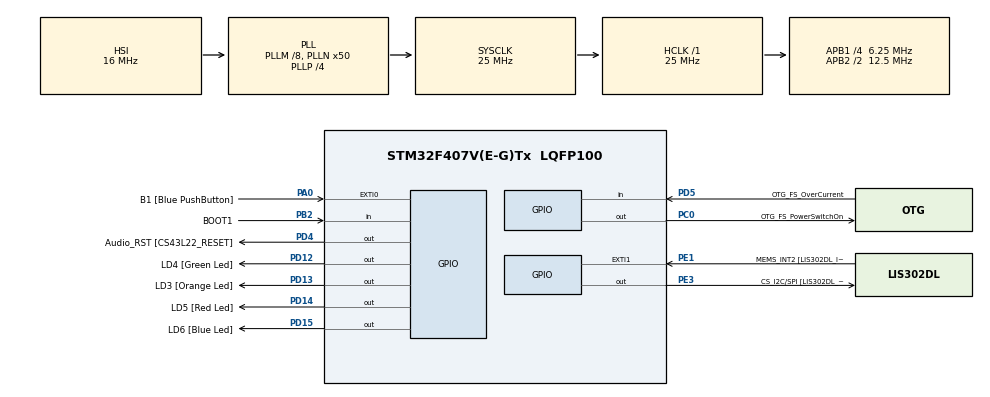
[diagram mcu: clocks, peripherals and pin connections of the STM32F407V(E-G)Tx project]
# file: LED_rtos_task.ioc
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Mcu.Family=STM32F4
Mcu.Name=STM32F407V(E-G)Tx
Mcu.Package=LQFP100
NVIC.PriorityGroup=NVIC_PRIORITYGROUP_4
NVIC.TIM6_DAC_IRQn=true\:0\:0\:false\:false\:true\:false\:true\:true
NVIC.TimeBase=TIM6_DAC_IRQn
NVIC.TimeBaseIP=TIM6
PA0-WKUP.GPIO_Label=B1 [Blue PushButton]
PA0-WKUP.Signal=GPXTI0
PA10.GPIO_Label=OTG_FS_ID
PA10.GPIO_Mode=GPIO_MODE_AF_PP
PA10.GPIO_PuPd=GPIO_NOPULL
PA10.GPIO_Speed=GPIO_SPEED_FREQ_LOW
PA10.Signal=USB_OTG_FS_ID
PA11.GPIO_Label=OTG_FS_DM
PA11.GPIO_Mode=GPIO_MODE_AF_PP
PA11.GPIO_PuPd=GPIO_NOPULL
PA11.GPIO_Speed=GPIO_SPEED_FREQ_LOW
PA11.Signal=USB_OTG_FS_DM
PA12.GPIO_Label=OTG_FS_DP
PA12.GPIO_Mode=GPIO_MODE_AF_PP
PA12.GPIO_PuPd=GPIO_NOPULL
PA12.GPIO_Speed=GPIO_SPEED_FREQ_LOW
PA12.Signal=USB_OTG_FS_DP
PA13.GPIO_Label=SWDIO
PA13.Signal=SYS_JTMS-SWDIO
PA14.GPIO_Label=SWCLK
PA14.Signal=SYS_JTCK-SWCLK
PA4.GPIO_Label=I2S3_WS [CS43L22_LRCK]
PA4.GPIO_Mode=GPIO_MODE_AF_PP
PA4.GPIO_PuPd=GPIO_NOPULL
PA4.GPIO_Speed=GPIO_SPEED_FREQ_LOW
PA4.Signal=I2S3_WS
PA5.GPIO_Label=SPI1_SCK [LIS302DL_SCL/SPC]
PA5.GPIO_Mode=GPIO_MODE_AF_PP
PA5.GPIO_PuPd=GPIO_NOPULL
PA5.GPIO_Speed=GPIO_SPEED_FREQ_LOW
PA5.Signal=SPI1_SCK
PA6.GPIO_Label=SPI1_MISO [LIS302DL_SDO]
PA6.GPIO_Mode=GPIO_MODE_AF_PP
PA6.GPIO_PuPd=GPIO_NOPULL
PA6.GPIO_Speed=GPIO_SPEED_FREQ_LOW
PA6.Signal=SPI1_MISO
PA7.GPIO_Label=SPI1_MOSI [LIS302DL_SDA/SDI/SDO]
PA7.GPIO_Mode=GPIO_MODE_AF_PP
PA7.GPIO_PuPd=GPIO_NOPULL
PA7.GPIO_Speed=GPIO_SPEED_FREQ_LOW
PA7.Signal=SPI1_MOSI
PA9.GPIO_Label=VBUS_FS
PA9.GPIO_Mode=GPIO_MODE_INPUT
PA9.GPIO_PuPd=GPIO_NOPULL
PA9.Signal=USB_OTG_FS_VBUS
PB10.GPIO_Label=CLK_IN [MP45DT02_CLK]
PB10.GPIO_Mode=GPIO_MODE_AF_PP
PB10.GPIO_PuPd=GPIO_NOPULL
PB10.GPIO_Speed=GPIO_SPEED_FREQ_LOW
PB10.Signal=I2S2_CK
PB2.GPIO_Label=BOOT1
PB2.GPIO_Mode=GPIO_MODE_INPUT
PB2.GPIO_PuPd=GPIO_NOPULL
PB2.Signal=GPIO_Input
PB3.GPIO_Label=SWO
PB3.Signal=SYS_JTDO-SWO
PB6.GPIO_Label=Audio_SCL [CS43L22_SCL]
PB6.GPIO_Mode=GPIO_MODE_AF_OD
PB6.GPIO_PuPd=GPIO_NOPULL
PB6.GPIO_Speed=GPIO_SPEED_FREQ_LOW
PB6.Signal=I2C1_SCL
PB9.GPIO_Label=Audio_SDA [CS43L22_SDA]
PB9.GPIO_Mode=GPIO_MODE_AF_OD
PB9.GPIO_PuPd=GPIO_NOPULL
PB9.GPIO_Speed=GPIO_SPEED_FREQ_LOW
PB9.Signal=I2C1_SDA
PC0.GPIO_Label=OTG_FS_PowerSwitchOn
PC0.GPIO_PuPd=GPIO_NOPULL
PC0.GPIO_Speed=GPIO_SPEED_FREQ_LOW
PC0.PinState=GPIO_PIN_SET
PC0.Signal=GPIO_Output
PC10.GPIO_Label=I2S3_SCK [CS43L22_SCLK]
PC10.GPIO_Mode=GPIO_MODE_AF_PP
PC10.GPIO_PuPd=GPIO_NOPULL
PC10.GPIO_Speed=GPIO_SPEED_FREQ_LOW
PC10.Signal=I2S3_CK
PC12.GPIO_Label=I2S3_SD [CS43L22_SDIN]
PC12.GPIO_Mode=GPIO_MODE_AF_PP
PC12.GPIO_PuPd=GPIO_NOPULL
PC12.GPIO_Speed=GPIO_SPEED_FREQ_LOW
PC12.Signal=I2S3_SD
PC14-OSC32_IN.GPIO_Label=PC14-OSC32_IN
PC14-OSC32_IN.Signal=RCC_OSC32_IN
PC15-OSC32_OUT.GPIO_Label=PC15-OSC32_OUT
PC15-OSC32_OUT.Signal=RCC_OSC32_OUT
PC3.GPIO_Label=PDM_OUT [MP45DT02_DOUT]
PC3.GPIO_Mode=GPIO_MODE_AF_PP
PC3.GPIO_PuPd=GPIO_NOPULL
PC3.GPIO_Speed=GPIO_SPEED_FREQ_LOW
PC3.Signal=I2S2_SD
PC7.GPIO_Label=I2S3_MCK [CS43L22_MCLK]
PC7.GPIO_Mode=GPIO_MODE_AF_PP
PC7.GPIO_PuPd=GPIO_NOPULL
PC7.GPIO_Speed=GPIO_SPEED_FREQ_LOW
PC7.Signal=I2S3_MCK
PD12.GPIO_Label=LD4 [Green Led]
PD12.GPIO_PuPd=GPIO_NOPULL
PD12.GPIO_Speed=GPIO_SPEED_FREQ_LOW
PD12.Signal=GPIO_Output
PD13.GPIO_Label=LD3 [Orange Led]
PD13.GPIO_PuPd=GPIO_NOPULL
PD13.GPIO_Speed=GPIO_SPEED_FREQ_LOW
PD13.Signal=GPIO_Output
PD14.GPIO_Label=LD5 [Red Led]
PD14.GPIO_PuPd=GPIO_NOPULL
PD14.GPIO_Speed=GPIO_SPEED_FREQ_LOW
PD14.Signal=GPIO_Output
PD15.GPIO_Label=LD6 [Blue Led]
PD15.GPIO_PuPd=GPIO_NOPULL
PD15.GPIO_Speed=GPIO_SPEED_FREQ_LOW
PD15.Signal=GPIO_Output
PD4.GPIO_Label=Audio_RST [CS43L22_RESET]
PD4.GPIO_PuPd=GPIO_NOPULL
PD4.GPIO_Speed=GPIO_SPEED_FREQ_LOW
PD4.Signal=GPIO_Output
PD5.GPIO_Label=OTG_FS_OverCurrent
PD5.GPIO_Mode=GPIO_MODE_INPUT
PD5.GPIO_PuPd=GPIO_NOPULL
PD5.Signal=GPIO_Input
PE1.GPIO_Label=MEMS_INT2 [LIS302DL_INT2]
PE1.GPIO_ModeDefaultEXTI=GPIO_MODE_EVT_RISING
PE1.GPIO_PuPd=GPIO_NOPULL
PE1.Signal=GPXTI1
PE3.GPIO_Label=CS_I2C/SPI [LIS302DL_CS_I2C/SPI]
PE3.GPIO_PuPd=GPIO_NOPULL
PE3.GPIO_Speed=GPIO_SPEED_FREQ_LOW
PE3.Signal=GPIO_Output
PH0-OSC_IN.GPIO_Label=PH0-OSC_IN
PH0-OSC_IN.Signal=RCC_OSC_IN
PH1-OSC_OUT.GPIO_Label=PH1-OSC_OUT
PH1-OSC_OUT.Signal=RCC_OSC_OUT
ProjectManager.HeapSize=0x200
ProjectManager.StackSize=0x400
ProjectManager.TargetToolchain=STM32CubeIDE
RCC.48MHZClocksFreq_Value=14285714.285714285
RCC.AHBFreq_Value=25000000
RCC.APB1CLKDivider=RCC_HCLK_DIV4
RCC.APB1Freq_Value=6250000
RCC.APB1TimFreq_Value=12500000
RCC.APB2CLKDivider=RCC_HCLK_DIV2
RCC.APB2Freq_Value=12500000
RCC.APB2TimFreq_Value=25000000
RCC.CortexFreq_Value=25000000
RCC.HCLKFreq_Value=25000000
RCC.HSE_VALUE=8000000
RCC.HSI_VALUE=16000000
RCC.LSE_VALUE=32768
RCC.PLLM=8
RCC.PLLN=50
RCC.PLLP=RCC_PLLP_DIV4
RCC.PLLQ=7
RCC.SYSCLKFreq_VALUE=25000000
RCC.SYSCLKSource=RCC_SYSCLKSOURCE_PLLCLK
RCC.VCOOutputFreq_Value=100000000
VP_SYS_VS_tim6.Mode=TIM6
board=STM32F407G-DISC1

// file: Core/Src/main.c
/* USER CODE BEGIN Header */
/**
  ******************************************************************************
  * @file           : main.c
  * @brief          : Main program body
  ******************************************************************************
  * @attention
  *
  * Copyright (c) 2026 STMicroelectronics.
  * All rights reserved.
  *
  * This software is licensed under terms that can be found in the LICENSE file
  * in the root directory of this software component.
  * If no LICENSE file comes with this software, it is provided AS-IS.
  *
  ******************************************************************************
  */
/* USER CODE END Header */
#include "main.h"

/* USER CODE BEGIN Includes */
#include "stdio.h"
#include "FreeRTOS.h"
#include "task.h"
/* USER CODE END Includes */

void SystemClock_Config(void);
static void MX_GPIO_Init(void);
/* USER CODE BEGIN PFP */
static void greenLed_handler(void* parameters);
static void redLed_handler(void* parameters);
static void orangeLed_handler(void* parameters);
/* USER CODE END PFP */

int main(void)
{

  /* USER CODE BEGIN 1 */
	TaskHandle_t greenLedtask, redLedtask, orangeLedtask;
	BaseType_t status;
  /* USER CODE END 1 */

  /* MCU Configuration--------------------------------------------------------*/

  /* Reset of all peripherals, Initializes the Flash interface and the Systick. */
  HAL_Init();

  /* Configure the system clock */
  SystemClock_Config();

  /* Initialize all configured peripherals */
  MX_GPIO_Init();
  /* USER CODE BEGIN 2 */
  status = xTaskCreate(greenLed_handler, "Green_led_Task", 200, NULL, 2, &greenLedtask);
  configASSERT(status == pdPASS );

  status = xTaskCreate(redLed_handler, "Red_led_Task", 200, NULL, 2, &redLedtask);
  configASSERT(status == pdPASS );

  status = xTaskCreate(orangeLed_handler, "Orange_led_Task", 200, NULL, 2, &orangeLedtask);
  configASSERT(status == pdPASS );

  vTaskStartScheduler();
  /* USER CODE END 2 */

  /* Infinite loop */
  while (1)
  {

  }
}

void SystemClock_Config(void)
{
  RCC_OscInitTypeDef RCC_OscInitStruct = {0};
  RCC_ClkInitTypeDef RCC_ClkInitStruct = {0};

  /** Configure the main internal regulator output voltage
  */
  __HAL_RCC_PWR_CLK_ENABLE();
  __HAL_PWR_VOLTAGESCALING_CONFIG(PWR_REGULATOR_VOLTAGE_SCALE1);

  /** Initializes the RCC Oscillators according to the specified parameters
  * in the RCC_OscInitTypeDef structure.
  */
  RCC_OscInitStruct.OscillatorType = RCC_OSCILLATORTYPE_HSI;
  RCC_OscInitStruct.HSIState = RCC_HSI_ON;
  RCC_OscInitStruct.HSICalibrationValue = RCC_HSICALIBRATION_DEFAULT;
  RCC_OscInitStruct.PLL.PLLState = RCC_PLL_ON;
  RCC_OscInitStruct.PLL.PLLSource = RCC_PLLSOURCE_HSI;
  RCC_OscInitStruct.PLL.PLLM = 8;
  RCC_OscInitStruct.PLL.PLLN = 50;
  RCC_OscInitStruct.PLL.PLLP = RCC_PLLP_DIV4;
  RCC_OscInitStruct.PLL.PLLQ = 7;
  if (HAL_RCC_OscConfig(&RCC_OscInitStruct) != HAL_OK)
  {
    Error_Handler();
  }

  /** Initializes the CPU, AHB and APB buses clocks
  */
  RCC_ClkInitStruct.ClockType = RCC_CLOCKTYPE_HCLK|RCC_CLOCKTYPE_SYSCLK
                              |RCC_CLOCKTYPE_PCLK1|RCC_CLOCKTYPE_PCLK2;
  RCC_ClkInitStruct.SYSCLKSource = RCC_SYSCLKSOURCE_PLLCLK;
  RCC_ClkInitStruct.AHBCLKDivider = RCC_SYSCLK_DIV1;
  RCC_ClkInitStruct.APB1CLKDivider = RCC_HCLK_DIV4;
  RCC_ClkInitStruct.APB2CLKDivider = RCC_HCLK_DIV2;

  if (HAL_RCC_ClockConfig(&RCC_ClkInitStruct, FLASH_LATENCY_0) != HAL_OK)
  {
    Error_Handler();
  }
}

static void MX_GPIO_Init(void)
{
  GPIO_InitTypeDef GPIO_InitStruct = {0};

  /* GPIO Ports Clock Enable */
  __HAL_RCC_GPIOE_CLK_ENABLE();
  __HAL_RCC_GPIOC_CLK_ENABLE();
  __HAL_RCC_GPIOH_CLK_ENABLE();
  __HAL_RCC_GPIOA_CLK_ENABLE();
  __HAL_RCC_GPIOB_CLK_ENABLE();
  __HAL_RCC_GPIOD_CLK_ENABLE();

  /*Configure GPIO pin Output Level */
  HAL_GPIO_WritePin(CS_I2C_SPI_GPIO_Port, CS_I2C_SPI_Pin, GPIO_PIN_RESET);

  /*Configure GPIO pin Output Level */
  HAL_GPIO_WritePin(OTG_FS_PowerSwitchOn_GPIO_Port, OTG_FS_PowerSwitchOn_Pin, GPIO_PIN_SET);

  /*Configure GPIO pin Output Level */
  HAL_GPIO_WritePin(GPIOD, LD4_Pin|LD3_Pin|LD5_Pin|LD6_Pin
                          |Audio_RST_Pin, GPIO_PIN_RESET);

  /*Configure GPIO pin : CS_I2C_SPI_Pin */
  GPIO_InitStruct.Pin = CS_I2C_SPI_Pin;
  GPIO_InitStruct.Mode = GPIO_MODE_OUTPUT_PP;
  GPIO_InitStruct.Pull = GPIO_NOPULL;
  GPIO_InitStruct.Speed = GPIO_SPEED_FREQ_LOW;
  HAL_GPIO_Init(CS_I2C_SPI_GPIO_Port, &GPIO_InitStruct);

  /*Configure GPIO pin : OTG_FS_PowerSwitchOn_Pin */
  GPIO_InitStruct.Pin = OTG_FS_PowerSwitchOn_Pin;
  GPIO_InitStruct.Mode = GPIO_MODE_OUTPUT_PP;
  GPIO_InitStruct.Pull = GPIO_NOPULL;
  GPIO_InitStruct.Speed = GPIO_SPEED_FREQ_LOW;
  HAL_GPIO_Init(OTG_FS_PowerSwitchOn_GPIO_Port, &GPIO_InitStruct);

  /*Configure GPIO pin : PDM_OUT_Pin */
  GPIO_InitStruct.Pin = PDM_OUT_Pin;
  GPIO_InitStruct.Mode = GPIO_MODE_AF_PP;
  GPIO_InitStruct.Pull = GPIO_NOPULL;
  GPIO_InitStruct.Speed = GPIO_SPEED_FREQ_LOW;
  GPIO_InitStruct.Alternate = GPIO_AF5_SPI2;
  HAL_GPIO_Init(PDM_OUT_GPIO_Port, &GPIO_InitStruct);

  /*Configure GPIO pin : B1_Pin */
  GPIO_InitStruct.Pin = B1_Pin;
  GPIO_InitStruct.Mode = GPIO_MODE_IT_RISING;
  GPIO_InitStruct.Pull = GPIO_NOPULL;
  HAL_GPIO_Init(B1_GPIO_Port, &GPIO_InitStruct);

  /*Configure GPIO pin : I2S3_WS_Pin */
  GPIO_InitStruct.Pin = I2S3_WS_Pin;
  GPIO_InitStruct.Mode = GPIO_MODE_AF_PP;
  GPIO_InitStruct.Pull = GPIO_NOPULL;
  GPIO_InitStruct.Speed = GPIO_SPEED_FREQ_LOW;
  GPIO_InitStruct.Alternate = GPIO_AF6_SPI3;
  HAL_GPIO_Init(I2S3_WS_GPIO_Port, &GPIO_InitStruct);

  /*Configure GPIO pins : SPI1_SCK_Pin SPI1_MISO_Pin SPI1_MOSI_Pin */
  GPIO_InitStruct.Pin = SPI1_SCK_Pin|SPI1_MISO_Pin|SPI1_MOSI_Pin;
  GPIO_InitStruct.Mode = GPIO_MODE_AF_PP;
  GPIO_InitStruct.Pull = GPIO_NOPULL;
  GPIO_InitStruct.Speed = GPIO_SPEED_FREQ_LOW;
  GPIO_InitStruct.Alternate = GPIO_AF5_SPI1;
  HAL_GPIO_Init(GPIOA, &GPIO_InitStruct);

  /*Configure GPIO pin : BOOT1_Pin */
  GPIO_InitStruct.Pin = BOOT1_Pin;
  GPIO_InitStruct.Mode = GPIO_MODE_INPUT;
  GPIO_InitStruct.Pull = GPIO_NOPULL;
  HAL_GPIO_Init(BOOT1_GPIO_Port, &GPIO_InitStruct);

  /*Configure GPIO pin : CLK_IN_Pin */
  GPIO_InitStruct.Pin = CLK_IN_Pin;
  GPIO_InitStruct.Mode = GPIO_MODE_AF_PP;
  GPIO_InitStruct.Pull = GPIO_NOPULL;
  GPIO_InitStruct.Speed = GPIO_SPEED_FREQ_LOW;
  GPIO_InitStruct.Alternate = GPIO_AF5_SPI2;
  HAL_GPIO_Init(CLK_IN_GPIO_Port, &GPIO_InitStruct);

  /*Configure GPIO pins : LD4_Pin LD3_Pin LD5_Pin LD6_Pin
                           Audio_RST_Pin */
  GPIO_InitStruct.Pin = LD4_Pin|LD3_Pin|LD5_Pin|LD6_Pin
                          |Audio_RST_Pin;
  GPIO_InitStruct.Mode = GPIO_MODE_OUTPUT_PP;
  GPIO_InitStruct.Pull = GPIO_NOPULL;
  GPIO_InitStruct.Speed = GPIO_SPEED_FREQ_LOW;
  HAL_GPIO_Init(GPIOD, &GPIO_InitStruct);

  /*Configure GPIO pins : I2S3_MCK_Pin I2S3_SCK_Pin I2S3_SD_Pin */
  GPIO_InitStruct.Pin = I2S3_MCK_Pin|I2S3_SCK_Pin|I2S3_SD_Pin;
  GPIO_InitStruct.Mode = GPIO_MODE_AF_PP;
  GPIO_InitStruct.Pull = GPIO_NOPULL;
  GPIO_InitStruct.Speed = GPIO_SPEED_FREQ_LOW;
  GPIO_InitStruct.Alternate = GPIO_AF6_SPI3;
  HAL_GPIO_Init(GPIOC, &GPIO_InitStruct);

  /*Configure GPIO pin : VBUS_FS_Pin */
  GPIO_InitStruct.Pin = VBUS_FS_Pin;
  GPIO_InitStruct.Mode = GPIO_MODE_INPUT;
  GPIO_InitStruct.Pull = GPIO_NOPULL;
  HAL_GPIO_Init(VBUS_FS_GPIO_Port, &GPIO_InitStruct);

  /*Configure GPIO pins : OTG_FS_ID_Pin OTG_FS_DM_Pin OTG_FS_DP_Pin */
  GPIO_InitStruct.Pin = OTG_FS_ID_Pin|OTG_FS_DM_Pin|OTG_FS_DP_Pin;
  GPIO_InitStruct.Mode = GPIO_MODE_AF_PP;
  GPIO_InitStruct.Pull = GPIO_NOPULL;
  GPIO_InitStruct.Speed = GPIO_SPEED_FREQ_LOW;
  GPIO_InitStruct.Alternate = GPIO_AF10_OTG_FS;
  HAL_GPIO_Init(GPIOA, &GPIO_InitStruct);

  /*Configure GPIO pin : OTG_FS_OverCurrent_Pin */
  GPIO_InitStruct.Pin = OTG_FS_OverCurrent_Pin;
  GPIO_InitStruct.Mode = GPIO_MODE_INPUT;
  GPIO_InitStruct.Pull = GPIO_NOPULL;
  HAL_GPIO_Init(OTG_FS_OverCurrent_GPIO_Port, &GPIO_InitStruct);

  /*Configure GPIO pins : Audio_SCL_Pin Audio_SDA_Pin */
  GPIO_InitStruct.Pin = Audio_SCL_Pin|Audio_SDA_Pin;
  GPIO_InitStruct.Mode = GPIO_MODE_AF_OD;
  GPIO_InitStruct.Pull = GPIO_NOPULL;
  GPIO_InitStruct.Speed = GPIO_SPEED_FREQ_LOW;
  GPIO_InitStruct.Alternate = GPIO_AF4_I2C1;
  HAL_GPIO_Init(GPIOB, &GPIO_InitStruct);

  /*Configure GPIO pin : MEMS_INT2_Pin */
  GPIO_InitStruct.Pin = MEMS_INT2_Pin;
  GPIO_InitStruct.Mode = GPIO_MODE_EVT_RISING;
  GPIO_InitStruct.Pull = GPIO_NOPULL;
  HAL_GPIO_Init(MEMS_INT2_GPIO_Port, &GPIO_InitStruct);

}

/* USER CODE BEGIN 4 */
static void greenLed_handler(void* parameters)
{
	while(1)
	{
		HAL_GPIO_TogglePin(GPIOD, LED_GREEN);
		HAL_Delay(1000);
		taskYIELD();
	}
}
static void redLed_handler(void* parameters)
{
	while(1)
	{
		HAL_GPIO_TogglePin(GPIOD, LED_RED);
		HAL_Delay(800);
		taskYIELD();
	}
}
static void orangeLed_handler(void* parameters)
{
	while(1)
	{
		HAL_GPIO_TogglePin(GPIOD, LED_ORANGE);
		HAL_Delay(400);
		taskYIELD();
	}
}
/* USER CODE END 4 */

void HAL_TIM_PeriodElapsedCallback(TIM_HandleTypeDef *htim)
{
  if (htim->Instance == TIM6)
  {
    HAL_IncTick();
  }
}

void Error_Handler(void)
{
  __disable_irq();
  while (1)
  {
  }
}
